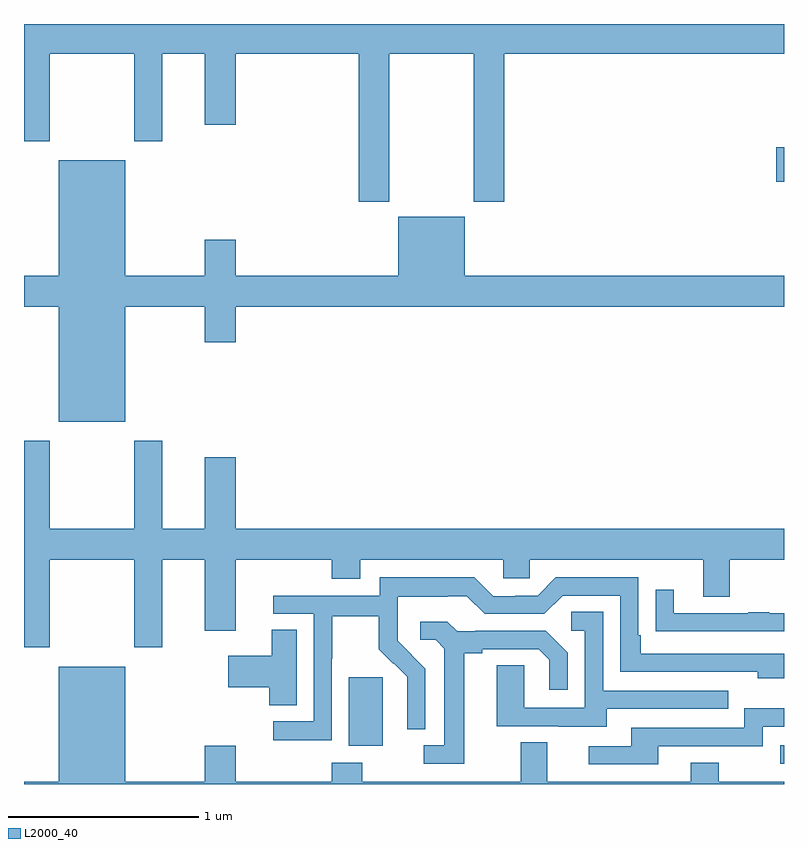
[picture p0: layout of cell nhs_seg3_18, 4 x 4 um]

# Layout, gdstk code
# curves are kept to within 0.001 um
import gdstk
lib = gdstk.Library(unit=1e-6, precision=1e-09)
def R(c, l, rs):  # rectangles x0, y0, x1, y1
    for r in rs: c.add(gdstk.rectangle(r[:2], r[2:], *l))
def P(c, l, *ps):  # polygons
    for p in ps: c.add(gdstk.Polygon(p, *l))
L2000_40 = (2000, 40)

nhs_seg3_18 = lib.new_cell('nhs_seg3_18')
R(nhs_seg3_18, L2000_40, [(114.981,702.507,115,702.603), (112.709,702.602,112.888,702.963), (114.96,705.569,115,705.752)])
P(nhs_seg3_18, L2000_40, [(112.923,706.244),(113.368,706.244),(113.368,705.465),(113.528,705.465),(113.528,706.244),(115,706.244),(115,706.4),(111,706.4),(111,705.783),(111.135,705.783),(111.135,706.244),(111.58,706.244),(111.58,705.783),(111.727,705.783),(111.727,706.244),(111.95,706.244),(111.95,705.87),(112.114,705.87),(112.114,706.244),(112.763,706.244),(112.763,705.465),(112.923,705.465)],
  [(111.532,704.912),(111.95,704.912),(111.95,704.724),(112.114,704.724),(112.114,704.912),(115,704.912),(115,705.076),(113.32,705.076),(113.32,705.385),(112.97,705.385),(112.97,705.076),(112.114,705.076),(112.114,705.265),(111.95,705.265),(111.95,705.076),(111.532,705.076),(111.532,705.682),(111.182,705.682),(111.182,705.076),(111,705.076),(111,704.912),(111.182,704.912),(111.182,704.306),(111.532,704.306)],
  [(111.135,703.58),(111.58,703.58),(111.58,703.119),(111.727,703.119),(111.727,703.58),(111.95,703.58),(111.95,703.206),(112.114,703.206),(112.114,703.58),(112.619,703.58),(112.619,703.481),(112.771,703.481),(112.771,703.58),(113.523,703.58),(113.523,703.482),(113.661,703.482),(113.661,703.58),(114.575,703.58),(114.575,703.386),(114.715,703.386),(114.715,703.58),(115,703.58),(115,703.744),(112.114,703.744),(112.114,704.119),(111.95,704.119),(111.95,703.744),(111.727,703.744),(111.727,704.206),(111.58,704.206),(111.58,703.744),(111.135,703.744),(111.135,704.206),(111,704.206),(111,703.119),(111.135,703.119)],
  [(112.62,703.06),(112.623,703.06),(112.623,703.284),(112.867,703.284),(112.867,703.109),(112.944,703.032),(112.947,703.035),(113.018,702.965),(113.018,702.842),(113.016,702.842),(113.016,702.688),(113.112,702.688),(113.112,703.006),(112.966,703.154),(112.966,703.251),(112.968,703.251),(112.968,703.385),(113.231,703.385),(113.231,703.389),(113.331,703.389),(113.424,703.296),(113.739,703.296),(113.835,703.392),(114.138,703.392),(114.138,702.99),(114.863,702.99),(114.863,702.956),(115,702.956),(115,703.086),(114.247,703.086),(114.247,703.183),(114.234,703.183),(114.234,703.488),(113.799,703.488),(113.703,703.392),(113.585,703.392),(113.585,703.389),(113.469,703.389),(113.369,703.489),(112.872,703.489),(112.872,703.392),(112.311,703.392),(112.311,703.296),(112.524,703.296),(112.524,702.729),(112.311,702.729),(112.311,702.631),(112.62,702.631)],
  [(115,703.299),(114.923,703.299),(114.923,703.304),(114.811,703.304),(114.811,703.299),(114.421,703.299),(114.421,703.423),(114.325,703.423),(114.325,703.204),(114.427,703.204),(114.427,703.203),(115,703.203)],
  [(114.067,702.795),(114.707,702.795),(114.707,702.891),(114.048,702.891),(114.048,703.307),(113.88,703.307),(113.88,703.206),(113.952,703.206),(113.952,702.801),(113.634,702.801),(113.634,703.025),(113.489,703.025),(113.489,702.705),(113.813,702.705),(113.813,702.701),(114.067,702.701)],
  [(113.317,703.088),(113.413,703.088),(113.413,703.11),(113.708,703.11),(113.765,703.053),(113.765,702.897),(113.862,702.897),(113.862,703.09),(113.746,703.206),(113.374,703.206),(113.374,703.203),(113.28,703.203),(113.228,703.255),(113.085,703.255),(113.085,703.158),(113.166,703.158),(113.213,703.111),(113.213,702.603),(113.103,702.603),(113.103,702.507),(113.317,702.507)],
  [(112.435,703.211),(112.304,703.211),(112.304,703.075),(112.074,703.075),(112.074,702.91),(112.292,702.91),(112.292,702.814),(112.435,702.814)],
  [(115,702.412),(114.657,702.412),(114.657,702.511),(114.509,702.511),(114.509,702.412),(113.755,702.412),(113.755,702.62),(113.615,702.62),(113.615,702.412),(112.779,702.412),(112.779,702.511),(112.619,702.511),(112.619,702.412),(112.114,702.412),(112.114,702.601),(111.95,702.601),(111.95,702.412),(111.532,702.412),(111.532,703.018),(111.182,703.018),(111.182,702.412),(111,702.412),(111,702.4),(115,702.4)],
  [(114.337,702.6),(114.888,702.6),(114.888,702.702),(115,702.702),(115,702.799),(114.792,702.799),(114.792,702.696),(114.197,702.696),(114.197,702.6),(113.973,702.6),(113.973,702.504),(114.337,702.504)])

lib.write_gds('nhs_seg3_18.gds')
